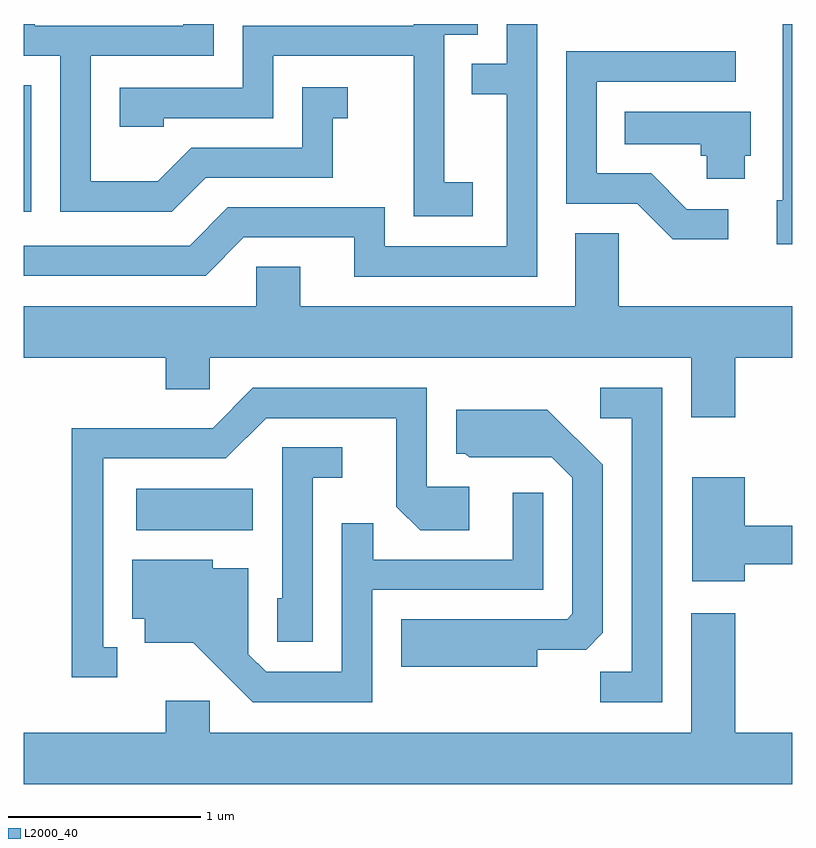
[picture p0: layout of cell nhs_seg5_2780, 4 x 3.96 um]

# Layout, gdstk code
import gdstk
lib = gdstk.Library(unit=1e-6, precision=1e-09)
def R(c, l, rs):  # rectangles x0, y0, x1, y1
    for r in rs: c.add(gdstk.rectangle(r[:2], r[2:], *l))
def P(c, l, *ps):  # polygons
    for p in ps: c.add(gdstk.Polygon(p, *l))
L2000_40 = (2000, 40)

nhs_seg5_2780 = lib.new_cell('nhs_seg5_2780')
R(nhs_seg5_2780, L2000_40, [(268.196,1471.436,268.804,1471.654), (267.611,1473.096,267.649,1473.754)])
P(nhs_seg5_2780, L2000_40, [(270.284,1474.072),(270.126,1474.072),(270.126,1473.864),(269.943,1473.864),(269.943,1473.706),(270.126,1473.706),(270.126,1472.914),(269.489,1472.914),(269.489,1473.119),(268.674,1473.119),(268.474,1472.919),(267.611,1472.919),(267.611,1472.761),(268.557,1472.761),(268.757,1472.961),(269.331,1472.961),(269.331,1472.756),(270.284,1472.756)],
  [(268.557,1473.271),(269.219,1473.271),(269.219,1473.581),(269.298,1473.581),(269.298,1473.744),(269.061,1473.744),(269.061,1473.429),(268.484,1473.429),(268.309,1473.254),(267.959,1473.254),(267.959,1473.906),(268.599,1473.906),(268.599,1474.072),(268.441,1474.072),(268.441,1474.064),(267.669,1474.064),(267.669,1474.072),(267.611,1474.072),(267.611,1473.906),(267.801,1473.906),(267.801,1473.096),(268.382,1473.096)],
  [(271.611,1474.072),(271.561,1474.072),(271.561,1473.154),(271.531,1473.154),(271.531,1472.926),(271.611,1472.926)],
  [(269.949,1473.249),(269.799,1473.249),(269.799,1474.016),(269.974,1474.016),(269.974,1474.072),(269.641,1474.072),(269.641,1474.064),(268.751,1474.064),(268.751,1473.739),(268.111,1473.739),(268.111,1473.536),(268.339,1473.536),(268.339,1473.581),(268.909,1473.581),(268.909,1473.906),(269.641,1473.906),(269.641,1473.071),(269.949,1473.071)],
  [(271.278,1473.109),(271.062,1473.109),(270.877,1473.294),(270.594,1473.294),(270.594,1473.771),(271.318,1473.771),(271.318,1473.929),(270.436,1473.929),(270.436,1473.136),(270.804,1473.136),(270.989,1472.951),(271.278,1472.951)],
  [(271.364,1473.386),(271.394,1473.386),(271.394,1473.614),(270.738,1473.614),(270.738,1473.446),(271.136,1473.446),(271.136,1473.386),(271.166,1473.386),(271.166,1473.266),(271.364,1473.266)],
  [(271.314,1472.336),(271.611,1472.336),(271.611,1472.604),(270.709,1472.604),(270.709,1472.984),(270.481,1472.984),(270.481,1472.604),(269.049,1472.604),(269.049,1472.809),(268.821,1472.809),(268.821,1472.604),(267.611,1472.604),(267.611,1472.336),(268.351,1472.336),(268.351,1472.171),(268.579,1472.171),(268.579,1472.336),(271.086,1472.336),(271.086,1472.026),(271.314,1472.026)],
  [(268.098,1470.829),(268.024,1470.829),(268.024,1471.811),(268.662,1471.811),(268.872,1472.021),(269.551,1472.021),(269.551,1471.559),(269.674,1471.436),(269.929,1471.436),(269.929,1471.664),(269.709,1471.664),(269.709,1472.179),(268.804,1472.179),(268.594,1471.969),(267.861,1471.969),(267.861,1470.671),(268.098,1470.671)],
  [(270.934,1472.179),(270.613,1472.179),(270.613,1472.021),(270.776,1472.021),(270.776,1470.699),(270.613,1470.699),(270.613,1470.541),(270.934,1470.541)],
  [(270.284,1470.816),(270.539,1470.816),(270.624,1470.902),(270.624,1471.777),(270.337,1472.064),(269.861,1472.064),(269.861,1471.836),(269.909,1471.836),(269.929,1471.816),(270.359,1471.816),(270.466,1471.709),(270.466,1471.002),(270.439,1470.974),(269.576,1470.974),(269.576,1470.726),(270.284,1470.726)],
  [(269.114,1471.711),(269.268,1471.711),(269.268,1471.869),(268.956,1471.869),(268.956,1471.084),(268.931,1471.084),(268.931,1470.856),(269.114,1470.856)],
  [(271.364,1471.261),(271.611,1471.261),(271.611,1471.459),(271.364,1471.459),(271.364,1471.714),(271.091,1471.714),(271.091,1471.171),(271.364,1471.171)],
  [(269.424,1471.126),(270.314,1471.126),(270.314,1471.633),(270.156,1471.633),(270.156,1471.284),(269.429,1471.284),(269.429,1471.473),(269.266,1471.473),(269.266,1470.699),(268.872,1470.699),(268.779,1470.792),(268.779,1471.239),(268.594,1471.239),(268.594,1471.284),(268.176,1471.284),(268.176,1470.976),(268.241,1470.976),(268.241,1470.851),(268.494,1470.851),(268.804,1470.541),(269.424,1470.541)],
  [(271.611,1470.384),(271.314,1470.384),(271.314,1471.004),(271.086,1471.004),(271.086,1470.384),(268.579,1470.384),(268.579,1470.549),(268.351,1470.549),(268.351,1470.384),(267.611,1470.384),(267.611,1470.116),(271.611,1470.116)])

lib.write_gds('nhs_seg5_2780.gds')
